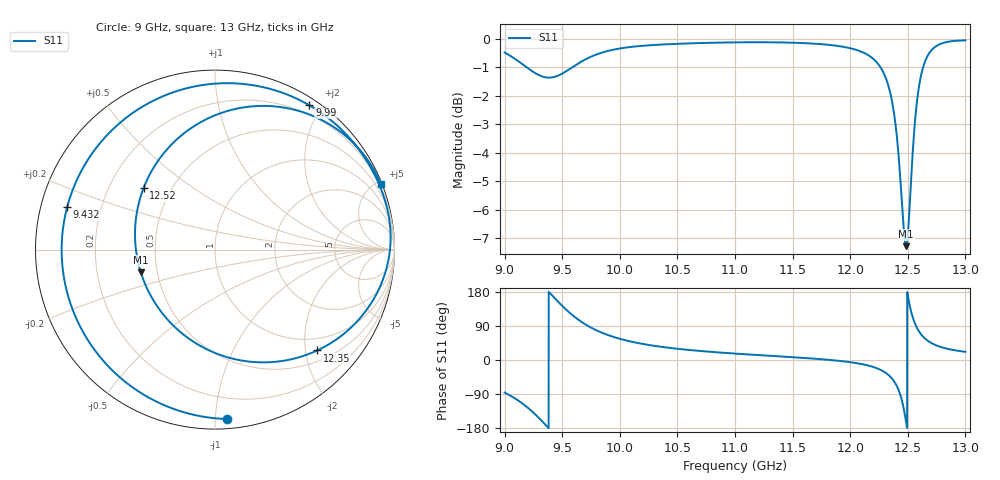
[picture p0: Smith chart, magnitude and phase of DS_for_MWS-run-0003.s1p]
! TOUCHSTONE file generated by CST DESIGN STUDIO
! Date and time: Tue Feb  4 16:06:14 2025
! Project name: C:\Work\MatlabApps\UnitCellOptimizationMatlab\CST\unitcell.cst
! Tree item: Tasks\Sweep1\SPara1\S-Parameters
! Header version: 2024
! Port assignment regex: !\s*Touchstone port\s*([0-9]+)\s*=\s*(CST MWS port|CST DES external port|CST DES block port)\s*(.+)\s* \(\"(.*)\"\)(\s*mode\s*([0-9]+))?.*
! Touchstone port assignment:
! Touchstone port 1 = CST DES external port 1 ("")
# GHz S MA R 50
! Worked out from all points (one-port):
!   4001 points, 9 GHz to 13 GHz, reference 50 ohm
!   lowest |S11| = -7.3 dB at 12.48 GHz (marker M1), VSWR 2.52, Z = 20.2 - j6.33 ohm
!   |S11| at or under -10 dB: nowhere
!   S11 on the Smith chart (normalised r, x): 9 GHz: 0.06, -1.07; 9.432 GHz: 0.08, +0.14; 9.99 GHz: 0.09, +1.85; 12.35 GHz: 0.72, -2.24; 12.52 GHz: 0.35, +0.33; 13 GHz: 0.10, +5.24
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9  0.9459 -86.1
9.114  0.9148 -106.1
9.212  0.885 -128.7
9.331  0.858 -163.3
9.432  0.8571 164.0
9.5  0.8687 142.8
9.591  0.892 117.8
9.689  0.9171 96.3
9.833  0.9439 73.4
9.99  0.9607 56.8
10  0.9615 55.9
10.5  0.9798 29.6
11  0.9857 16.9
11.5  0.9842 7.4
12  0.9625 -5.8
12.228  0.9104 -21.4
12.35  0.7998 -44.6
12.429  0.5912 -86.3
12.457  0.4867 -117.1
12.485  0.4322 -162.9
12.5  0.4522 170.2
12.52  0.5258 139.1
12.551  0.669 105.3
12.583  0.7861 82.8
12.634  0.8928 61.2
12.691  0.9466 47.2
12.808  0.9834 32.4
13  0.9932 21.6
